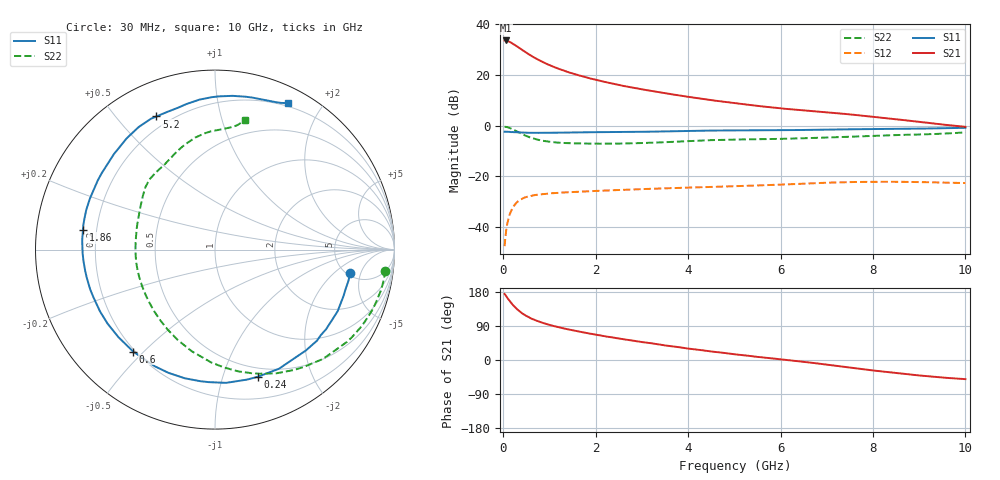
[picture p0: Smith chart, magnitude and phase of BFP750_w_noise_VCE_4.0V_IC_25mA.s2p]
! Infineon Technologies  Discrete & RF Semiconductors
! BFP750
! VCE =  4.0 V,  IC =  25 mA
! Common Emitter S-Parameters:  Jan 2016
# GHz  S  MA  R  50
!  f  S11  S21  S12  S22
! GHz  MAG  ANG  MAG  ANG  MAG  ANG  MAG  ANG
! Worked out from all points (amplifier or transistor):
!   229 points, 30 MHz to 10 GHz, reference 50 ohm
!   highest |S21| = 33.7 dB at 50 MHz (marker M1)
!   |S21| within 3 dB of that: start of sweep to 350.7 MHz
!   unconditionally stable (mu >= 1): 4.645 GHz to end of sweep
!   at 280 MHz: K = 0.15, MSG = 31.1 dB, |S12| = -30.5 dB
!   at 1.78 GHz: K = 0.56, MSG = 22.5 dB, |S12| = -25.9 dB
!   at 10 GHz: K = 1.07, MAG = 9.5 dB, |S12| = -22.6 dB
!   lowest NFmin = 0.79 dB at 450 MHz
!   S11 on the Smith chart (normalised r, x): 30 MHz: 5.31, -3.36; 240 MHz: 0.41, -1.31; 600 MHz: 0.19, -0.47; 1.86 GHz: 0.15, +0.07; 5.2 GHz: 0.15, +0.64; 10 GHz: 0.17, +1.60
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0.03  0.7644 -9.9  48.29 174.3  0.0042 70.0  0.9561 -7.0
0.05  0.7602 -16.7  48.3 170.4  0.0066 73.2  0.9538 -11.8
0.08  0.7648 -26.6  47.58 165.7  0.0107 71.0  0.9425 -19.0
0.15  0.7566 -47.9  44.77 154.0  0.0188 64.0  0.8976 -34.9
0.2  0.7535 -61.8  42.21 146.5  0.0237 58.4  0.8564 -45.3
0.24  0.7474 -71.4  40.03 141.4  0.0269 54.2  0.8198 -52.9
0.3  0.745 -85.2  36.86 134.0  0.0311 48.7  0.7692 -63.7
0.4  0.7365 -103.2  31.85 124.0  0.0359 41.2  0.6911 -79.1
0.5  0.7315 -117.5  27.64 116.2  0.0393 35.5  0.6288 -92.0
0.6  0.7284 -128.7  24.2 109.8  0.0415 31.3  0.5809 -102.9
0.8  0.7269 -145.4  19.17 100.0  0.0443 25.4  0.5182 -120.5
1  0.7274 -157.4  15.73 92.6  0.0462 21.6  0.4835 -134.1
1.3  0.7329 -170.7  12.35 83.6  0.0482 18.1  0.4582 -149.6
1.7  0.7418 175.9  9.527 73.7  0.0503 15.0  0.4464 -164.9
1.86  0.7444 171.5  8.703 70.0  0.0511 14.0  0.4447 -170.0
2.6  0.7537 153.9  6.116 54.8  0.0543 10.3  0.447 170.0
3.4  0.7706 138.4  4.546 40.5  0.0579 6.8  0.4694 154.0
5.1  0.811 114.9  2.732 13.9  0.0646 -0.2  0.5361 131.8
5.2  0.8107 113.8  2.664 12.6  0.065 -0.6  0.5373 130.6
6.8  0.8338 98.0  1.909 -9.1  0.0738 -8.8  0.578 113.0
8.4  0.8688 78.6  1.374 -33.0  0.0784 -22.0  0.6517 94.6
10  0.9112 63.6  0.953 -50.5  0.074 -32.4  0.7391 77.0
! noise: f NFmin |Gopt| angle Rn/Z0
0.45  0.79  0.09  -165  0.58
0.9  0.81  0.15  -161  0.15
1.5  0.82  0.17  -161  0.11
1.9  0.83  0.19  -161  0.09
2.4  0.86  0.22  -154  0.08
3.5  1.1  0.28  -138  0.08
